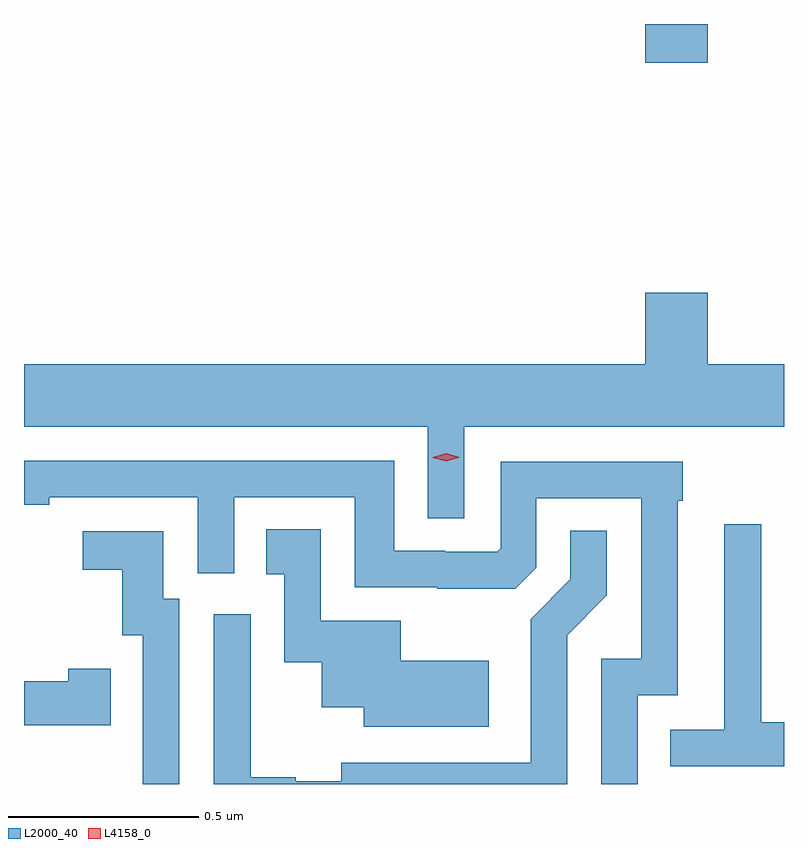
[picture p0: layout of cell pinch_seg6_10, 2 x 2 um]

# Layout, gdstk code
import gdstk
lib = gdstk.Library(unit=1e-6, precision=1e-09)
def R(c, l, rs):  # rectangles x0, y0, x1, y1
    for r in rs: c.add(gdstk.rectangle(r[:2], r[2:], *l))
def P(c, l, *ps):  # polygons
    for p in ps: c.add(gdstk.Polygon(p, *l))
L2000_40 = (2000, 40)
L4158_0 = (4158, 0)

pinch_seg6_10 = lib.new_cell('pinch_seg6_10')
R(pinch_seg6_10, L2000_40, [(1064.108,966.942,1064.272,967.044)])
P(pinch_seg6_10, L2000_40, [(1063.632,965.984),(1064.473,965.984),(1064.473,966.148),(1064.272,966.148),(1064.272,966.337),(1064.108,966.337),(1064.108,966.148),(1062.473,966.148),(1062.473,965.984),(1063.536,965.984),(1063.536,965.743),(1063.632,965.743)],
  [(1064.088,965.277),(1064.193,965.277),(1064.193,965.789),(1064.206,965.789),(1064.206,965.892),(1063.728,965.892),(1063.728,965.664),(1063.719,965.655),(1063.581,965.655),(1063.581,965.658),(1063.447,965.658),(1063.447,965.895),(1062.473,965.895),(1062.473,965.779),(1062.539,965.779),(1062.539,965.799),(1062.93,965.799),(1062.93,965.598),(1063.026,965.598),(1063.026,965.799),(1063.343,965.799),(1063.343,965.562),(1063.561,965.562),(1063.561,965.558),(1063.766,965.558),(1063.821,965.613),(1063.821,965.796),(1064.097,965.796),(1064.097,965.373),(1063.992,965.373),(1063.992,965.044),(1064.088,965.044)],
  [(1064.473,965.207),(1064.413,965.207),(1064.413,965.728),(1064.316,965.728),(1064.316,965.187),(1064.173,965.187),(1064.173,965.091),(1064.473,965.091)],
  [(1063.696,965.368),(1063.465,965.368),(1063.465,965.473),(1063.254,965.473),(1063.254,965.714),(1063.111,965.714),(1063.111,965.596),(1063.158,965.596),(1063.158,965.364),(1063.256,965.364),(1063.256,965.246),(1063.367,965.246),(1063.367,965.195),(1063.696,965.195)],
  [(1063.902,965.436),(1064.007,965.541),(1064.007,965.711),(1063.911,965.711),(1063.911,965.583),(1063.806,965.478),(1063.806,965.1),(1063.308,965.1),(1063.308,965.051),(1063.188,965.051),(1063.188,965.062),(1063.07,965.062),(1063.07,965.491),(1062.972,965.491),(1062.972,965.044),(1063.902,965.044)],
  [(1062.882,965.532),(1062.84,965.532),(1062.84,965.709),(1062.627,965.709),(1062.627,965.608),(1062.732,965.608),(1062.732,965.436),(1062.786,965.436),(1062.786,965.044),(1062.882,965.044)],
  [(1062.701,965.347),(1062.589,965.347),(1062.589,965.315),(1062.473,965.315),(1062.473,965.198),(1062.701,965.198)])
P(pinch_seg6_10, L4158_0, [(1063.584,965.894),(1063.549,965.903),(1063.548,965.903),(1063.549,965.904),(1063.584,965.914),(1063.62,965.904),(1063.62,965.904),(1063.62,965.904)])

lib.write_gds('pinch_seg6_10.gds')
